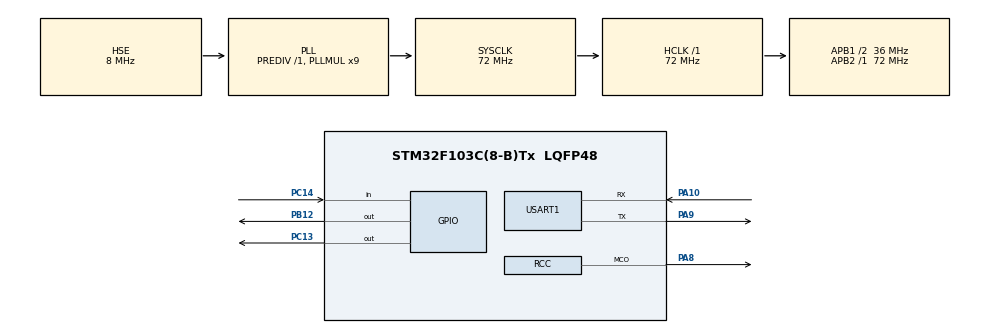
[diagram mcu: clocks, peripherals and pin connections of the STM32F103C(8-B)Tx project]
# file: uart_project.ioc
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Mcu.Family=STM32F1
Mcu.Name=STM32F103C(8-B)Tx
Mcu.Package=LQFP48
NVIC.PriorityGroup=NVIC_PRIORITYGROUP_4
NVIC.TIM2_IRQn=true\:2\:0\:true\:false\:true\:true\:true\:true
NVIC.USART1_IRQn=true\:3\:0\:true\:false\:true\:true\:true\:true
PA10.Mode=Asynchronous
PA10.Signal=USART1_RX
PA13.Mode=Serial_Wire
PA13.Signal=SYS_JTMS-SWDIO
PA14.Mode=Serial_Wire
PA14.Signal=SYS_JTCK-SWCLK
PA8.Mode=Clock-out
PA8.Signal=RCC_MCO
PA9.Mode=Asynchronous
PA9.Signal=USART1_TX
PB12.Signal=GPIO_Output
PC13-TAMPER-RTC.Signal=GPIO_Output
PC14-OSC32_IN.GPIO_PuPd=GPIO_PULLUP
PC14-OSC32_IN.Signal=GPIO_Input
PD0-OSC_IN.Mode=HSE-External-Oscillator
PD0-OSC_IN.Signal=RCC_OSC_IN
PD1-OSC_OUT.Mode=HSE-External-Oscillator
PD1-OSC_OUT.Signal=RCC_OSC_OUT
ProjectManager.HeapSize=0x200
ProjectManager.StackSize=0x400
ProjectManager.TargetToolchain=STM32CubeIDE
RCC.AHBFreq_Value=72000000
RCC.APB1CLKDivider=RCC_HCLK_DIV2
RCC.APB1Freq_Value=36000000
RCC.APB1TimFreq_Value=72000000
RCC.APB2Freq_Value=72000000
RCC.APB2TimFreq_Value=72000000
RCC.HCLKFreq_Value=72000000
RCC.PLLMUL=RCC_PLL_MUL9
RCC.PLLSourceVirtual=RCC_PLLSOURCE_HSE
RCC.RCC_MCOSource=RCC_MCO1SOURCE_PLLCLK
RCC.SYSCLKFreq_VALUE=72000000
RCC.SYSCLKSource=RCC_SYSCLKSOURCE_PLLCLK
RCC.USBFreq_Value=72000000
TIM2.Period=65535-1
TIM2.Prescaler=72-1
USART1.VirtualMode=VM_ASYNC
VP_TIM2_VS_ClockSourceINT.Mode=Internal
board=custom

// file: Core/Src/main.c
/* USER CODE BEGIN Header */
/**
  ******************************************************************************
  * @file           : main.c
  * @brief          : Main program body
  ******************************************************************************
  * @attention
  *
  * Copyright (c) 2023 STMicroelectronics.
  * All rights reserved.
  *
  * This software is licensed under terms that can be found in the LICENSE file
  * in the root directory of this software component.
  * If no LICENSE file comes with this software, it is provided AS-IS.
  *
  ******************************************************************************
  */
/* USER CODE END Header */
#include "main.h"
#include <string.h>
#include <stdio.h>

TIM_HandleTypeDef htim2;

UART_HandleTypeDef huart1;

void SystemClock_Config(void);
static void MX_GPIO_Init(void);
static void MX_USART1_UART_Init(void);
static void MX_TIM2_Init(void);

/* USER CODE BEGIN 0 */
uint8_t data_test[6] = "\nhihi";
unsigned char buffer[10] ;

unsigned char data_rx = 0;
unsigned char count = 0;

/*
 * Auto transmit data "hihi"
 */

//void HAL_TIM_PeriodElapsedCallback(TIM_HandleTypeDef *htim)
//{
// if(htim->Instance == htim2.Instance)
// {
//   HAL_UART_Transmit(&huart1, data_test, 6, 500);
// }
//}

/*
 * sau khi nhận 1 ký tự truyền về ở hàm main thì vdk sẽ vào hàm "HAL_UART_RxCpltCallback" để xử lý
 * Nhận từng ký tự sẽ lưu vào 1 mảng buffer
 * Khi nhận ký tự kết thúc chuỗi '\n' thì sẽ truyền buffer đi và reset buffer
 */
void HAL_UART_RxCpltCallback(UART_HandleTypeDef *huart)
{
 if(huart->Instance == huart1.Instance)
 {
	 if(data_rx == '\n'){
		 count = 0;
		 HAL_UART_Transmit(&huart1, buffer, sizeof(buffer), 1000);
		 memset(buffer, 0, sizeof(buffer));

	 }
	 else{
		 buffer[count] = data_rx;
		 count++;
	 }

	 HAL_UART_Receive_IT(&huart1, &data_rx , sizeof(data_rx));
 }
}

/*
 * toggle led pc13 after Receive data
 */
void mode0(){
	if(flag)
	{
	  HAL_GPIO_TogglePin(GPIOC, GPIO_PIN_13);
	  HAL_Delay(300);
	  flag = 0;
	}
}

/*  Mode 1:
 *  Push button to transmit data
 *  PC14 is button
 *  */

void mode1(){
	if(HAL_GPIO_ReadPin(GPIOC, GPIO_PIN_14) ==0 )
	{
			 HAL_UART_Transmit(&huart1, (unsigned char*) "Hello", 6, 1000);
			 HAL_Delay(1000);

	}
}

/*  Mode 2:
 *  send ON -> led on
 *  send OFF -> led off
 *
 *  */

/* USER CODE END 0 */

int main(void)
{

  /* MCU Configuration--------------------------------------------------------*/

  /* Reset of all peripherals, Initializes the Flash interface and the Systick. */
  HAL_Init();

  /* Configure the system clock */
  SystemClock_Config();

  /* Initialize all configured peripherals */
  MX_GPIO_Init();
  MX_USART1_UART_Init();
  MX_TIM2_Init();
  /* USER CODE BEGIN 2 */

  HAL_UART_Receive_IT(&huart1, &data_rx, 1);  // nhận 1 ký tự dữ liệu truyền về
  HAL_TIM_Base_Start_IT(&htim2);

  /* USER CODE END 2 */

  /* Infinite loop */
  while (1)
  {

    /* USER CODE BEGIN 3 */

	  //mode0();
	 // mode1();
	  //mode2();
  }
  /* USER CODE END 3 */
}

void SystemClock_Config(void)
{
  RCC_OscInitTypeDef RCC_OscInitStruct = {0};
  RCC_ClkInitTypeDef RCC_ClkInitStruct = {0};

  /** Initializes the RCC Oscillators according to the specified parameters
  * in the RCC_OscInitTypeDef structure.
  */
  RCC_OscInitStruct.OscillatorType = RCC_OSCILLATORTYPE_HSE;
  RCC_OscInitStruct.HSEState = RCC_HSE_ON;
  RCC_OscInitStruct.HSEPredivValue = RCC_HSE_PREDIV_DIV1;
  RCC_OscInitStruct.HSIState = RCC_HSI_ON;
  RCC_OscInitStruct.PLL.PLLState = RCC_PLL_ON;
  RCC_OscInitStruct.PLL.PLLSource = RCC_PLLSOURCE_HSE;
  RCC_OscInitStruct.PLL.PLLMUL = RCC_PLL_MUL9;
  if (HAL_RCC_OscConfig(&RCC_OscInitStruct) != HAL_OK)
  {
    Error_Handler();
  }

  /** Initializes the CPU, AHB and APB buses clocks
  */
  RCC_ClkInitStruct.ClockType = RCC_CLOCKTYPE_HCLK|RCC_CLOCKTYPE_SYSCLK
                              |RCC_CLOCKTYPE_PCLK1|RCC_CLOCKTYPE_PCLK2;
  RCC_ClkInitStruct.SYSCLKSource = RCC_SYSCLKSOURCE_PLLCLK;
  RCC_ClkInitStruct.AHBCLKDivider = RCC_SYSCLK_DIV1;
  RCC_ClkInitStruct.APB1CLKDivider = RCC_HCLK_DIV2;
  RCC_ClkInitStruct.APB2CLKDivider = RCC_HCLK_DIV1;

  if (HAL_RCC_ClockConfig(&RCC_ClkInitStruct, FLASH_LATENCY_2) != HAL_OK)
  {
    Error_Handler();
  }
  HAL_RCC_MCOConfig(RCC_MCO, RCC_MCO1SOURCE_PLLCLK, RCC_MCODIV_1);
}

static void MX_TIM2_Init(void)
{

  TIM_ClockConfigTypeDef sClockSourceConfig = {0};
  TIM_MasterConfigTypeDef sMasterConfig = {0};

  htim2.Instance = TIM2;
  htim2.Init.Prescaler = 720-1;
  htim2.Init.CounterMode = TIM_COUNTERMODE_UP;
  htim2.Init.Period = 65535-1;
  htim2.Init.ClockDivision = TIM_CLOCKDIVISION_DIV1;
  htim2.Init.AutoReloadPreload = TIM_AUTORELOAD_PRELOAD_DISABLE;
  if (HAL_TIM_Base_Init(&htim2) != HAL_OK)
  {
    Error_Handler();
  }
  sClockSourceConfig.ClockSource = TIM_CLOCKSOURCE_INTERNAL;
  if (HAL_TIM_ConfigClockSource(&htim2, &sClockSourceConfig) != HAL_OK)
  {
    Error_Handler();
  }
  sMasterConfig.MasterOutputTrigger = TIM_TRGO_RESET;
  sMasterConfig.MasterSlaveMode = TIM_MASTERSLAVEMODE_DISABLE;
  if (HAL_TIMEx_MasterConfigSynchronization(&htim2, &sMasterConfig) != HAL_OK)
  {
    Error_Handler();
  }

}

static void MX_USART1_UART_Init(void)
{

  huart1.Instance = USART1;
  huart1.Init.BaudRate = 115200;
  huart1.Init.WordLength = UART_WORDLENGTH_8B;
  huart1.Init.StopBits = UART_STOPBITS_1;
  huart1.Init.Parity = UART_PARITY_NONE;
  huart1.Init.Mode = UART_MODE_TX_RX;
  huart1.Init.HwFlowCtl = UART_HWCONTROL_NONE;
  huart1.Init.OverSampling = UART_OVERSAMPLING_16;
  if (HAL_UART_Init(&huart1) != HAL_OK)
  {
    Error_Handler();
  }

}

static void MX_GPIO_Init(void)
{
  GPIO_InitTypeDef GPIO_InitStruct = {0};

  /* GPIO Ports Clock Enable */
  __HAL_RCC_GPIOC_CLK_ENABLE();
  __HAL_RCC_GPIOD_CLK_ENABLE();
  __HAL_RCC_GPIOB_CLK_ENABLE();
  __HAL_RCC_GPIOA_CLK_ENABLE();

  /*Configure GPIO pin Output Level */
  HAL_GPIO_WritePin(GPIOC, GPIO_PIN_13, GPIO_PIN_RESET);

  /*Configure GPIO pin Output Level */
  HAL_GPIO_WritePin(GPIOB, GPIO_PIN_12, GPIO_PIN_RESET);

  /*Configure GPIO pin : PC13 */
  GPIO_InitStruct.Pin = GPIO_PIN_13;
  GPIO_InitStruct.Mode = GPIO_MODE_OUTPUT_PP;
  GPIO_InitStruct.Pull = GPIO_NOPULL;
  GPIO_InitStruct.Speed = GPIO_SPEED_FREQ_LOW;
  HAL_GPIO_Init(GPIOC, &GPIO_InitStruct);

  /*Configure GPIO pin : PC14 */
  GPIO_InitStruct.Pin = GPIO_PIN_14;
  GPIO_InitStruct.Mode = GPIO_MODE_INPUT;
  GPIO_InitStruct.Pull = GPIO_PULLUP;
  HAL_GPIO_Init(GPIOC, &GPIO_InitStruct);

  /*Configure GPIO pin : PB12 */
  GPIO_InitStruct.Pin = GPIO_PIN_12;
  GPIO_InitStruct.Mode = GPIO_MODE_OUTPUT_PP;
  GPIO_InitStruct.Pull = GPIO_NOPULL;
  GPIO_InitStruct.Speed = GPIO_SPEED_FREQ_LOW;
  HAL_GPIO_Init(GPIOB, &GPIO_InitStruct);

  /*Configure GPIO pin : PA8 */
  GPIO_InitStruct.Pin = GPIO_PIN_8;
  GPIO_InitStruct.Mode = GPIO_MODE_AF_PP;
  GPIO_InitStruct.Speed = GPIO_SPEED_FREQ_LOW;
  HAL_GPIO_Init(GPIOA, &GPIO_InitStruct);

}

void Error_Handler(void)
{
  __disable_irq();
  while (1)
  {
  }
}
